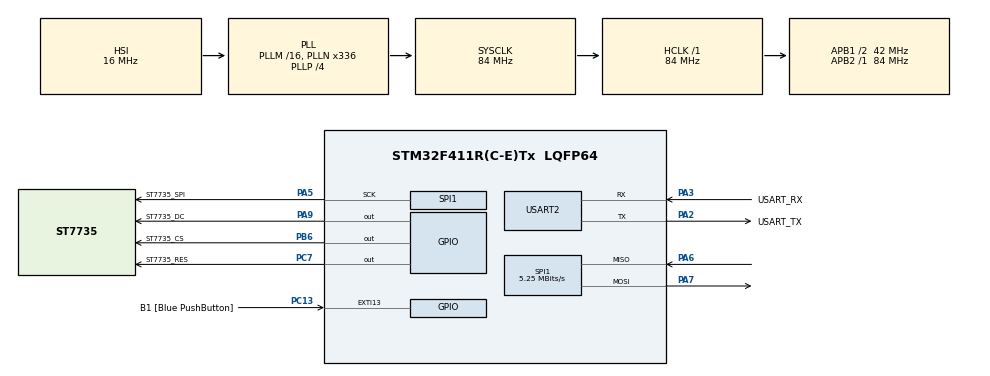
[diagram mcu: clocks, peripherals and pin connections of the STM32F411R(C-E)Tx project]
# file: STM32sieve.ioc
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Mcu.Family=STM32F4
Mcu.Name=STM32F411R(C-E)Tx
Mcu.Package=LQFP64
NVIC.PriorityGroup=NVIC_PRIORITYGROUP_0
PA13.GPIO_Label=TMS
PA13.Mode=Serial_Wire
PA13.Signal=SYS_JTMS-SWDIO
PA14.GPIO_Label=TCK
PA14.Mode=Serial_Wire
PA14.Signal=SYS_JTCK-SWCLK
PA2.GPIO_Label=USART_TX
PA2.Mode=Asynchronous
PA2.Signal=USART2_TX
PA3.GPIO_Label=USART_RX
PA3.Mode=Asynchronous
PA3.Signal=USART2_RX
PA5.GPIO_Label=ST7735_SPI
PA5.Mode=Full_Duplex_Master
PA5.Signal=SPI1_SCK
PA6.Mode=Full_Duplex_Master
PA6.Signal=SPI1_MISO
PA7.Mode=Full_Duplex_Master
PA7.Signal=SPI1_MOSI
PA9.GPIO_Label=ST7735_DC
PA9.Signal=GPIO_Output
PB3.GPIO_Label=SWO
PB3.Signal=SYS_JTDO-SWO
PB6.GPIO_Label=ST7735_CS
PB6.Signal=GPIO_Output
PC13-ANTI_TAMP.GPIO_Label=B1 [Blue PushButton]
PC13-ANTI_TAMP.GPIO_ModeDefaultEXTI=GPIO_MODE_IT_FALLING
PC13-ANTI_TAMP.Signal=GPXTI13
PC14-OSC32_IN.Mode=LSE-External-Oscillator
PC14-OSC32_IN.Signal=RCC_OSC32_IN
PC15-OSC32_OUT.Mode=LSE-External-Oscillator
PC15-OSC32_OUT.Signal=RCC_OSC32_OUT
PC7.GPIO_Label=ST7735_RES
PC7.Signal=GPIO_Output
PH0\ -\ OSC_IN.Mode=HSE-External-Clock-Source
PH0\ -\ OSC_IN.Signal=RCC_OSC_IN
PH1\ -\ OSC_OUT.Mode=HSE-External-Clock-Source
PH1\ -\ OSC_OUT.Signal=RCC_OSC_OUT
ProjectManager.HeapSize=0x200
ProjectManager.StackSize=0x400
ProjectManager.TargetToolchain=STM32CubeIDE
RCC.48MHZClocksFreq_Value=84000000
RCC.AHBFreq_Value=84000000
RCC.APB1CLKDivider=RCC_HCLK_DIV2
RCC.APB1Freq_Value=42000000
RCC.APB1TimFreq_Value=84000000
RCC.APB2Freq_Value=84000000
RCC.APB2TimFreq_Value=84000000
RCC.CortexFreq_Value=84000000
RCC.FLatency-AdvancedSettings=FLASH_LATENCY_2
RCC.HCLKFreq_Value=84000000
RCC.HSE_VALUE=8000000
RCC.HSI_VALUE=16000000
RCC.PLLN=336
RCC.PLLP=RCC_PLLP_DIV4
RCC.SYSCLKFreq_VALUE=84000000
RCC.SYSCLKSource=RCC_SYSCLKSOURCE_PLLCLK
RCC.VCOOutputFreq_Value=336000000
SPI1.BaudRatePrescaler=SPI_BAUDRATEPRESCALER_16
SPI1.CalculateBaudRate=5.25 MBits/s
SPI1.Direction=SPI_DIRECTION_2LINES
SPI1.Mode=SPI_MODE_MASTER
SPI1.VirtualType=VM_MASTER
USART2.VirtualMode=VM_ASYNC
board=NUCLEO-F411RE

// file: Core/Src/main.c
/* USER CODE BEGIN Header */
/**
  ******************************************************************************
  * @file           : main.c
  * @brief          : Main program body
  ******************************************************************************
  * @attention
  *
  * Copyright (c) 2024 STMicroelectronics.
  * All rights reserved.
  *
  * This software is licensed under terms that can be found in the LICENSE file
  * in the root directory of this software component.
  * If no LICENSE file comes with this software, it is provided AS-IS.
  *
  ******************************************************************************
  */
/* USER CODE END Header */
#include "main.h"

/* USER CODE BEGIN Includes */

#include <stdio.h>
#include <stdint.h>
#include <stdlib.h>
#include <string.h> // For strlen
#include <stdbool.h>
#include <math.h>
#include "sieve.h"
#include "st7735.h"
#include "fonts.h"
#include <inttypes.h>
/* USER CODE END Includes */

SPI_HandleTypeDef hspi1;

UART_HandleTypeDef huart2;

void SystemClock_Config(void);
static void MX_GPIO_Init(void);
static void MX_USART2_UART_Init(void);
static void MX_SPI1_Init(void);
/* USER CODE BEGIN PFP */
#define PUTCHAR_PROTOTYPE int __io_putchar(int ch)
/* USER CODE END PFP */

/* USER CODE BEGIN 0 */
// Function to convert milliseconds to a human-readable time format
void convertTime(int milliseconds) {
    if (milliseconds < 0) {
        printf("Invalid time value.\n");
        return;
    }

    // Convert milliseconds to seconds
    int seconds = milliseconds / 1000;

    // Convert seconds to hours, minutes, and remaining seconds
    int hours = seconds / 3600;
    int minutes = (seconds % 3600) / 60;
    seconds = seconds % 60;

    // Print the result in a formatted manner
    if (hours > 0) {
        printf("%d hours, %d minutes, and %d seconds\n", hours, minutes, seconds);
    } else if (minutes > 0) {
        printf("%d minutes and %d seconds\n", minutes, seconds);
    } else {
        printf("%d seconds\n", seconds);
    }
}

/* USER CODE END 0 */

int main(void)
{

  /* MCU Configuration--------------------------------------------------------*/

  /* Reset of all peripherals, Initializes the Flash interface and the Systick. */
  HAL_Init();

  /* Configure the system clock */
  SystemClock_Config();

  /* Initialize all configured peripherals */
  MX_GPIO_Init();
  MX_USART2_UART_Init();
  MX_SPI1_Init();
  /* USER CODE BEGIN 2 */

  ST7735_Init();
  ST7735_FillScreen(ST7735_BLACK);
/*
 *
 *
 * call the prime count funtion up to integer value x
 *
 *
 *
 */
  //ST7735_DrawImage(0, 0, ST7735_WIDTH, ST7735_HEIGHT, (uint16_t*)test_img_128x128);

  /* in comments below expected values.
   * calculated values are output on screen and in console
   */
  π(123456);        //     11601
  HAL_Delay(5000);
  π(1234567);       //     95360
  HAL_Delay(5000);
  π(12345678);      //    809227
  HAL_Delay(5000);
  π(123456789);     //   7027260
  HAL_Delay(5000);
  // π(779079743);       //  40124506  // sieve.c segment size change required here to avoid oom
  int millis1 = HAL_GetTick();

  π(1234567890);    //  62106578

  // rework required for long long ints.....
  //π(10000000000); // 455052511

  HAL_Delay(5000);

  int millis2 = HAL_GetTick();
  int timeInMillis=millis2 - millis1;
  convertTime(timeInMillis);

  /* USER CODE END 2 */

  /* Infinite loop */
  while (1)
  {

  }
}

void SystemClock_Config(void)
{
  RCC_OscInitTypeDef RCC_OscInitStruct = {0};
  RCC_ClkInitTypeDef RCC_ClkInitStruct = {0};

  /** Configure the main internal regulator output voltage
  */
  __HAL_RCC_PWR_CLK_ENABLE();
  __HAL_PWR_VOLTAGESCALING_CONFIG(PWR_REGULATOR_VOLTAGE_SCALE1);

  /** Initializes the RCC Oscillators according to the specified parameters
  * in the RCC_OscInitTypeDef structure.
  */
  RCC_OscInitStruct.OscillatorType = RCC_OSCILLATORTYPE_HSI;
  RCC_OscInitStruct.HSIState = RCC_HSI_ON;
  RCC_OscInitStruct.HSICalibrationValue = RCC_HSICALIBRATION_DEFAULT;
  RCC_OscInitStruct.PLL.PLLState = RCC_PLL_ON;
  RCC_OscInitStruct.PLL.PLLSource = RCC_PLLSOURCE_HSI;
  RCC_OscInitStruct.PLL.PLLM = 16;
  RCC_OscInitStruct.PLL.PLLN = 336;
  RCC_OscInitStruct.PLL.PLLP = RCC_PLLP_DIV4;
  RCC_OscInitStruct.PLL.PLLQ = 4;
  if (HAL_RCC_OscConfig(&RCC_OscInitStruct) != HAL_OK)
  {
    Error_Handler();
  }

  /** Initializes the CPU, AHB and APB buses clocks
  */
  RCC_ClkInitStruct.ClockType = RCC_CLOCKTYPE_HCLK|RCC_CLOCKTYPE_SYSCLK
                              |RCC_CLOCKTYPE_PCLK1|RCC_CLOCKTYPE_PCLK2;
  RCC_ClkInitStruct.SYSCLKSource = RCC_SYSCLKSOURCE_PLLCLK;
  RCC_ClkInitStruct.AHBCLKDivider = RCC_SYSCLK_DIV1;
  RCC_ClkInitStruct.APB1CLKDivider = RCC_HCLK_DIV2;
  RCC_ClkInitStruct.APB2CLKDivider = RCC_HCLK_DIV1;

  if (HAL_RCC_ClockConfig(&RCC_ClkInitStruct, FLASH_LATENCY_2) != HAL_OK)
  {
    Error_Handler();
  }
}

static void MX_SPI1_Init(void)
{

  /* SPI1 parameter configuration*/
  hspi1.Instance = SPI1;
  hspi1.Init.Mode = SPI_MODE_MASTER;
  hspi1.Init.Direction = SPI_DIRECTION_2LINES;
  hspi1.Init.DataSize = SPI_DATASIZE_8BIT;
  hspi1.Init.CLKPolarity = SPI_POLARITY_LOW;
  hspi1.Init.CLKPhase = SPI_PHASE_1EDGE;
  hspi1.Init.NSS = SPI_NSS_SOFT;
  hspi1.Init.BaudRatePrescaler = SPI_BAUDRATEPRESCALER_16;
  hspi1.Init.FirstBit = SPI_FIRSTBIT_MSB;
  hspi1.Init.TIMode = SPI_TIMODE_DISABLE;
  hspi1.Init.CRCCalculation = SPI_CRCCALCULATION_DISABLE;
  hspi1.Init.CRCPolynomial = 10;
  if (HAL_SPI_Init(&hspi1) != HAL_OK)
  {
    Error_Handler();
  }

}

static void MX_USART2_UART_Init(void)
{

  huart2.Instance = USART2;
  huart2.Init.BaudRate = 115200;
  huart2.Init.WordLength = UART_WORDLENGTH_8B;
  huart2.Init.StopBits = UART_STOPBITS_1;
  huart2.Init.Parity = UART_PARITY_NONE;
  huart2.Init.Mode = UART_MODE_TX_RX;
  huart2.Init.HwFlowCtl = UART_HWCONTROL_NONE;
  huart2.Init.OverSampling = UART_OVERSAMPLING_16;
  if (HAL_UART_Init(&huart2) != HAL_OK)
  {
    Error_Handler();
  }

}

static void MX_GPIO_Init(void)
{
  GPIO_InitTypeDef GPIO_InitStruct = {0};

  /* GPIO Ports Clock Enable */
  __HAL_RCC_GPIOC_CLK_ENABLE();
  __HAL_RCC_GPIOH_CLK_ENABLE();
  __HAL_RCC_GPIOA_CLK_ENABLE();
  __HAL_RCC_GPIOB_CLK_ENABLE();

  /*Configure GPIO pin Output Level */
  HAL_GPIO_WritePin(ST7735_RES_GPIO_Port, ST7735_RES_Pin, GPIO_PIN_RESET);

  /*Configure GPIO pin Output Level */
  HAL_GPIO_WritePin(ST7735_DC_GPIO_Port, ST7735_DC_Pin, GPIO_PIN_RESET);

  /*Configure GPIO pin Output Level */
  HAL_GPIO_WritePin(ST7735_CS_GPIO_Port, ST7735_CS_Pin, GPIO_PIN_RESET);

  /*Configure GPIO pin : B1_Pin */
  GPIO_InitStruct.Pin = B1_Pin;
  GPIO_InitStruct.Mode = GPIO_MODE_IT_FALLING;
  GPIO_InitStruct.Pull = GPIO_NOPULL;
  HAL_GPIO_Init(B1_GPIO_Port, &GPIO_InitStruct);

  /*Configure GPIO pin : ST7735_RES_Pin */
  GPIO_InitStruct.Pin = ST7735_RES_Pin;
  GPIO_InitStruct.Mode = GPIO_MODE_OUTPUT_PP;
  GPIO_InitStruct.Pull = GPIO_NOPULL;
  GPIO_InitStruct.Speed = GPIO_SPEED_FREQ_LOW;
  HAL_GPIO_Init(ST7735_RES_GPIO_Port, &GPIO_InitStruct);

  /*Configure GPIO pin : ST7735_DC_Pin */
  GPIO_InitStruct.Pin = ST7735_DC_Pin;
  GPIO_InitStruct.Mode = GPIO_MODE_OUTPUT_PP;
  GPIO_InitStruct.Pull = GPIO_NOPULL;
  GPIO_InitStruct.Speed = GPIO_SPEED_FREQ_LOW;
  HAL_GPIO_Init(ST7735_DC_GPIO_Port, &GPIO_InitStruct);

  /*Configure GPIO pin : ST7735_CS_Pin */
  GPIO_InitStruct.Pin = ST7735_CS_Pin;
  GPIO_InitStruct.Mode = GPIO_MODE_OUTPUT_PP;
  GPIO_InitStruct.Pull = GPIO_NOPULL;
  GPIO_InitStruct.Speed = GPIO_SPEED_FREQ_LOW;
  HAL_GPIO_Init(ST7735_CS_GPIO_Port, &GPIO_InitStruct);

}

/* USER CODE BEGIN 4 */
/**
  * @brief  Retargets the C library printf function to the USART.
  *   None
  * @retval None
  */
PUTCHAR_PROTOTYPE
{
  /* Place your implementation of fputc here */
  /* e.g. write a character to the USART1 and Loop until the end of transmission */
  HAL_UART_Transmit(&huart2, (uint8_t *)&ch, 1, 0xFFFF);

  return ch;
}
/* USER CODE END 4 */

void Error_Handler(void)
{
  __disable_irq();
  while (1)
  {
  }
}
